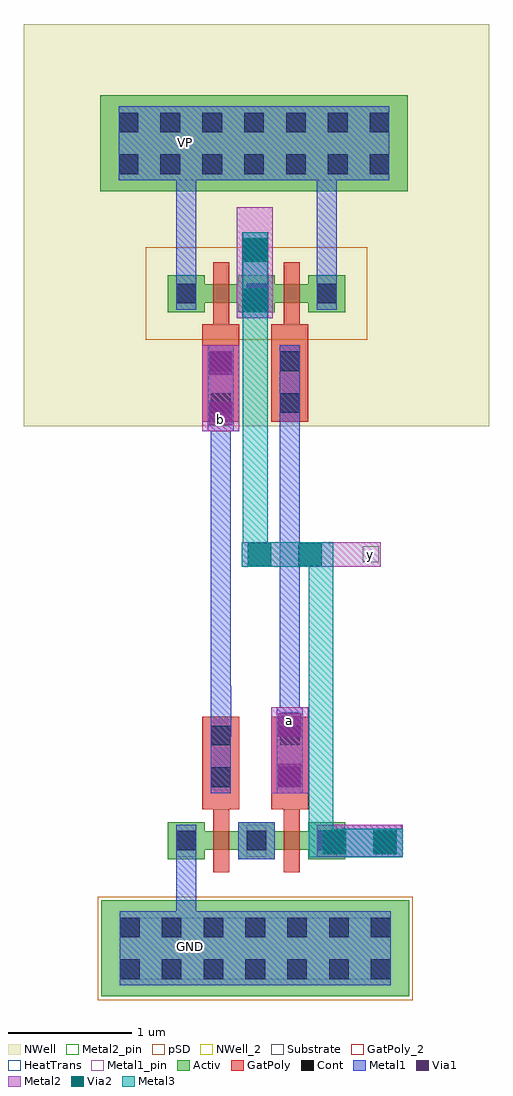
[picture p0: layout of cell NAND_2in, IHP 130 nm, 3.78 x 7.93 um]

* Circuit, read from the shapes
.subckt NAND_2in GND VP a b y
XM1 n1 b GND GND sg13_lv_nmos w=0.15u l=0.13u
XM2 y a n1 GND sg13_lv_nmos w=0.15u l=0.13u
XM3 y b VP VP sg13_lv_pmos w=0.15u l=0.13u
XM4 VP a y VP sg13_lv_pmos w=0.15u l=0.13u
.ends

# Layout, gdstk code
from math import pi, radians
import gdstk
lib = gdstk.Library(unit=1e-6, precision=1e-09)
def R(c, l, rs):  # rectangles x0, y0, x1, y1
    for r in rs: c.add(gdstk.rectangle(r[:2], r[2:], *l))
def A(c, l, x, y, w, h, nx, ny, dx, dy):  # array of equal rectangles
    R(c, l, [(x+i*dx, y+j*dy, x+i*dx+w, y+j*dy+h) for i in range(nx) for j in range(ny)])
Activ = (1, 0)
GatPoly = (5, 0)
GatPoly_2 = (5, 2)
Cont = (6, 0)
Metal1 = (8, 0)
Metal1_pin = (8, 2)
Metal2 = (10, 0)
Metal2_pin = (10, 2)
pSD = (14, 0)
Via1 = (19, 0)
Via2 = (29, 0)
Metal3 = (30, 0)
NWell = (31, 0)
NWell_2 = (31, 2)
Substrate = (40, 0)
HeatTrans = (51, 0)

ntap1_5 = lib.new_cell('ntap1$5')
R(ntap1_5, Activ, [(0,0,2.5,0.78)])
A(ntap1_5, Cont, 0.15, 0.14, 0.16, 0.16, 7, 2, 0.34, 0.34)
R(ntap1_5, Metal1, [(0.15,0.09,2.35,0.69)])
R(ntap1_5, Metal1_pin, [(0.15,0.09,2.35,0.69), (0.15,0.14,2.35,0.64)])
R(ntap1_5, NWell, [(-0.24,-0.24,2.74,1.02), (0,0,2.5,0.78)])
R(ntap1_5, NWell_2, [(0,0,2.5,0.78)])
ntap1_5.add(gdstk.Label('well', (1.25,0.01), layer=63, texttype=0))
ntap1_5.add(gdstk.Label('well', (1.25,0.01), layer=31, texttype=0))

via_5_4 = lib.new_cell('Via$5$4')
R(via_5_4, Metal2, [(-0.1,-0.35,0.1,0.35)])
R(via_5_4, Via2, [(-0.095,-0.3,0.095,-0.11), (-0.095,0.11,0.095,0.3)])
R(via_5_4, Metal3, [(-0.1,-0.35,0.1,0.35)])

via = lib.new_cell('Via')
R(via, Metal2, [(-0.35,-0.1,0.35,0.1)])
R(via, Via2, [(-0.3,-0.095,-0.11,0.095), (0.11,-0.095,0.3,0.095)])
R(via, Metal3, [(-0.35,-0.1,0.35,0.1)])

via_4_1 = lib.new_cell('Via$4$1')
R(via_4_1, Metal1, [(-0.105,-0.35,0.105,0.35)])
R(via_4_1, Metal2, [(-0.1,-0.35,0.1,0.35)])
R(via_4_1, Via1, [(-0.095,-0.3,0.095,-0.11), (-0.095,0.11,0.095,0.3)])

via_6_2 = lib.new_cell('Via$6$2')
R(via_6_2, GatPoly, [(-0.32,-0.15,0.32,0.15)])
R(via_6_2, Cont, [(-0.25,-0.08,-0.09,0.08), (0.09,-0.08,0.25,0.08)])
R(via_6_2, Metal1, [(-0.3,-0.08,0.3,0.08)])

via_18 = lib.new_cell('Via$18')
R(via_18, Metal1, [(-0.35,-0.105,0.35,0.105)])
R(via_18, Metal2, [(-0.35,-0.1,0.35,0.1)])
R(via_18, Via1, [(-0.3,-0.095,-0.11,0.095), (0.11,-0.095,0.3,0.095)])

ptap1_4 = lib.new_cell('ptap1$4')
R(ptap1_4, Activ, [(0,0,2.5,0.78)])
A(ptap1_4, Cont, 0.15, 0.14, 0.16, 0.16, 7, 2, 0.34, 0.34)
R(ptap1_4, Metal1, [(0.15,0.09,2.35,0.69), (0.15,0.14,2.35,0.64)])
R(ptap1_4, Metal1_pin, [(0.15,0.14,2.35,0.64)])
R(ptap1_4, pSD, [(-0.03,-0.03,2.53,0.81)])
R(ptap1_4, Substrate, [(0,0,2.5,0.78)])
ptap1_4.add(gdstk.Label('sub!', (1.25,0.01), layer=63, texttype=0))
ptap1_4.add(gdstk.Label('sub!', (1.25,0.01), layer=40, texttype=0))

pmos = lib.new_cell('pmos')
R(pmos, Activ, [(0,0,0.3,0.3), (0.57,0,0.87,0.3), (0,0.075,0.87,0.225)])
R(pmos, GatPoly, [(0.37,-0.105,0.5,0.405), (0.37,-0.105,0.5,0.405)])
R(pmos, Cont, [(0.07,0.07,0.23,0.23), (0.64,0.07,0.8,0.23)])
R(pmos, Metal1, [(0.07,0.02,0.23,0.28), (0.07,0.02,0.23,0.28), (0.64,0.02,0.8,0.28), (0.64,0.02,0.8,0.28)])
R(pmos, pSD, [(-0.18,-0.225,1.05,0.525)])
R(pmos, NWell, [(-0.31,-0.31,1.18,0.61)])
R(pmos, HeatTrans, [(0.37,-0.105,0.5,0.405)])
pmos.add(gdstk.Label('pmos', (0.435,0.15), layer=63, texttype=0))
pmos.add(gdstk.Label('pmos', (0.435,0.15), layer=51, texttype=0))

nmos_7 = lib.new_cell('nmos$7')
R(nmos_7, Activ, [(0,0,0.3,0.3), (0.57,0,0.87,0.3), (0,0.075,0.87,0.225)])
R(nmos_7, GatPoly, [(0.37,-0.105,0.5,0.405)])
R(nmos_7, GatPoly_2, [(0.37,-0.105,0.5,0.405)])
R(nmos_7, Cont, [(0.07,0.07,0.23,0.23), (0.64,0.07,0.8,0.23)])
R(nmos_7, Metal1, [(0.07,0.02,0.23,0.28), (0.64,0.02,0.8,0.28)])
R(nmos_7, Metal1_pin, [(0.07,0.02,0.23,0.28), (0.64,0.02,0.8,0.28)])
R(nmos_7, HeatTrans, [(0.37,-0.105,0.5,0.405)])
nmos_7.add(gdstk.Label('nmos', (0.435,0.15), layer=63, texttype=0))
nmos_7.add(gdstk.Label('nmos', (0.435,0.15), layer=51, texttype=0))

nand_2in = lib.new_cell('NAND_2in')
R(nand_2in, GatPoly, [(0.6,-3.21,0.9,-3.1), (1.16,-3.21,1.46,-3.1), (0.6,0.58,0.9,0.73), (1.16,0.58,1.46,0.73)])
R(nand_2in, Metal1, [(0.39,-4.15,0.55,-3.37), (0.89,-3.615,1.19,-3.315), (1.53,-3.595,2.22,-3.335), (0.67,-2.615,0.835,-2.385), (0.67,-2.385,0.835,-2.21), (1.23,-2.38,1.39,-2.21), (0.67,-2.21,0.83,-1.27), (1.23,-2.21,1.39,-1.27), (0.67,-1.31,0.83,-0.37), (1.23,-1.31,1.39,-0.37), (0.67,-0.37,0.83,-0.12), (1.23,-0.37,1.39,-0.01), (1.53,1,1.69,1.2), (0.39,1.01,0.55,1.15), (1.53,1.115,1.69,1.94), (0.39,1.12,0.55,1.995)])
R(nand_2in, Metal1_pin, [(0.44,-4.395,0.57,-4.265), (0.4,2.15,0.53,2.28)])
R(nand_2in, Metal2, [(1.53,-3.595,2.23,-3.335), (1.16,-3.08,1.46,-2.38), (1.62,-1.24,2.05,-1.04), (0.6,-0.14,0.9,0.56), (0.88,0.78,1.17,0.98), (0.88,0.98,1.17,1.68)])
R(nand_2in, Metal2_pin, [(1.25,-2.55,1.38,-2.42), (1.905,-1.205,2.035,-1.075), (0.69,-0.1,0.82,0.03)])
R(nand_2in, Metal3, [(1.465,-3.6,2.23,-3.37), (1.465,-3.595,1.665,-3.21), (1.465,-3.21,1.665,-3.135), (1.465,-3.135,1.665,-2.935), (1.465,-2.935,1.665,-2.89), (1.465,-2.905,1.665,-1.045), (0.93,-1.09,1.13,0.17), (0.93,0.1,1.13,0.62), (0.93,0.62,1.13,0.72), (0.93,0.71,1.13,0.87)])
R(nand_2in, NWell, [(-0.85,-0.1,2.93,3.17)])
nand_2in.add(gdstk.Reference(ntap1_5, (-0.23,1.81)))
nand_2in.add(gdstk.Reference(via_5_4, (1.27,-1.14), rotation=3*pi/2))
nand_2in.add(gdstk.Reference(via, (1.88,-3.475)))
nand_2in.add(gdstk.Reference(via_4_1, (0.75,0.21), rotation=pi))
nand_2in.add(gdstk.Reference(via_4_1, (1.03,1.13), rotation=pi))
nand_2in.add(gdstk.Reference(via_6_2, (0.75,0.26), rotation=3*pi/2))
nand_2in.add(gdstk.Reference(via_6_2, (1.31,0.26), rotation=3*pi/2))
nand_2in.add(gdstk.Reference(via_18, (1.88,-3.48)))
nand_2in.add(gdstk.Reference(via_5_4, (1.03,1.13), rotation=pi))
nand_2in.add(gdstk.Reference(ptap1_4, (-0.22,-4.73)))
nand_2in.add(gdstk.Reference(pmos, (0.32,0.83)))
nand_2in.add(gdstk.Reference(pmos, (0.89,0.83)))
nand_2in.add(gdstk.Reference(nmos_7, (0.32,-3.615)))
nand_2in.add(gdstk.Reference(nmos_7, (0.89,-3.615)))
nand_2in.add(gdstk.Reference(via_6_2, (0.75,-2.78), rotation=3*pi/2))
nand_2in.add(gdstk.Reference(via_4_1, (1.31,-2.73), rotation=pi))
nand_2in.add(gdstk.Reference(via_6_2, (1.31,-2.78), rotation=3*pi/2))
nand_2in.add(gdstk.Label('a', (1.31,-2.49), layer=10, texttype=25))
nand_2in.add(gdstk.Label('y', (1.97,-1.14), layer=10, texttype=25))
nand_2in.add(gdstk.Label('b', (0.75,-0.04), layer=10, texttype=25))
nand_2in.add(gdstk.Label('VP', (0.46,2.21), layer=8, texttype=25))
nand_2in.add(gdstk.Label('GND', (0.505,-4.325), layer=8, texttype=25))

lib.write_gds('NAND_2in.gds')
